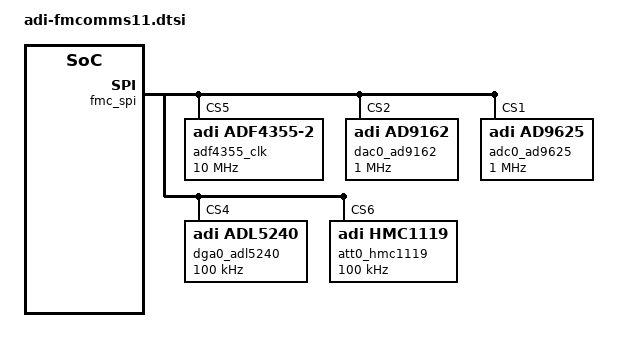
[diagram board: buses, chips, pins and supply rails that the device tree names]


/ {
	clocks {
		adf4355_clkin: clock@0 {
			compatible = "fixed-clock";

			clock-frequency = <122880000>;
			clock-output-names = "clkin";
			#clock-cells = <0>;
		};

		adc_clk_div: hmc361 {
			compatible = "fixed-factor-clock";

			clock-div = <2>;
			clock-mult = <1>;
			clocks = <&adf4355_clk>;

			#clock-cells = <0>;
		};

		adc_divclk: ad9625-divclk {
			compatible = "fixed-factor-clock";

			clock-div = <2>; /* DIV4 but the parent olyready uses clk scale / 2 */
			clock-mult = <1>;
			clocks = <&adc_clk_div>;

			#clock-cells = <0>;
		};
	};
};

#include <dt-bindings/iio/frequency/ad9508.h>

&fmc_spi {
	adf4355_clk: adf4355@5 {
		compatible = "adi,adf4355-2";
		reg = <5>;

		spi-max-frequency = <10000000>;

		clocks = <&adf4355_clkin>;
		clock-names = "clkin";
		clock-scales = <1 2>;

		clock-output-names = "adf4355_pll";
		#clock-cells = <0>;

		adi,charge-pump-current = <900>;
		adi,muxout-select = <6>;
		adi,output-a-power = <3>;
		adi,output-b-power = <3>;
		adi,charge-pump-negative-bleed-enable;
		adi,reference-differential-input-enable;
		adi,muxout-level-3v3-enable;
		adi,power-up-frequency = /bits/ 64 <3932160000>;
		adi,output-a-enable;
		adi,output-b-enable;
		adi,clock-shift = <1>;
	};



	dac0_ad9162: ad9162@2 {
		compatible = "adi,ad9162";
		reg = <2>;

		spi-cpol;
		spi-cpha;
		spi-max-frequency = <1000000>;

		clocks = <&axi_ad9162_jesd>, <&adf4355_clk>;
		clock-names = "jesd_dac_clk", "dac_clk";
		dac_clk-clock-scales = <1 2>;
		adi,full-scale-current-microamp = <20000>;
		adi,spi-3wire-enable;
	};

	adc0_ad9625: ad9625@1 {
		compatible = "adi,ad9625";
		reg = <1>;

		spi-max-frequency = <1000000>;
		spi-cpol;
		spi-cpha;

		clocks = <&axi_ad9625_jesd>, <&adc_clk_div>;
		clock-names = "jesd_adc_clk", "adc_clk";
		adc_clk-clock-scales = <1 2>;
	};

	dga0_adl5240: adl5240@4 {
		compatible = "adi,adl5240";
		reg = <4>;

		spi-max-frequency = <100000>;
	};

	att0_hmc1119: hmc1119@6 {
		compatible = "adi,hmc1119";
		reg = <6>;

		spi-max-frequency = <100000>;
	};
};

